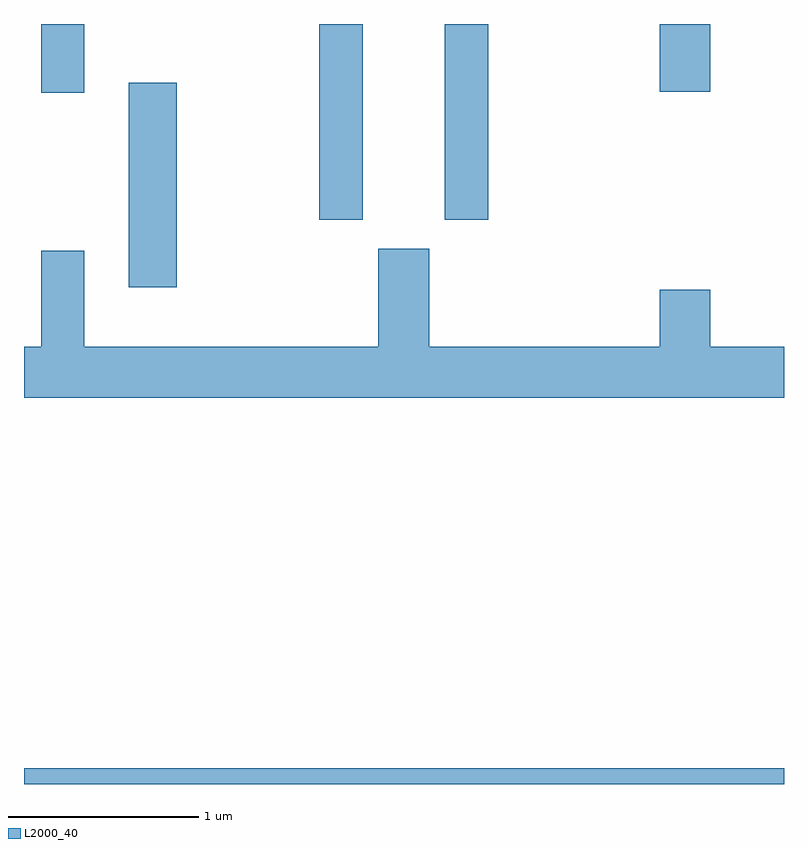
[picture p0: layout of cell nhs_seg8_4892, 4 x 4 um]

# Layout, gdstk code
import gdstk
lib = gdstk.Library(unit=1e-6, precision=1e-09)
def R(c, l, rs):  # rectangles x0, y0, x1, y1
    for r in rs: c.add(gdstk.rectangle(r[:2], r[2:], *l))
def P(c, l, *ps):  # polygons
    for p in ps: c.add(gdstk.Polygon(p, *l))
L2000_40 = (2000, 40)

nhs_seg8_4892 = lib.new_cell('nhs_seg8_4892')
R(nhs_seg8_4892, L2000_40, [(331.611,1874.342,335.611,1874.424), (332.161,1876.956,332.414,1878.034), (333.166,1877.311,333.394,1878.342), (333.826,1877.311,334.054,1878.342), (331.701,1877.981,331.929,1878.342), (334.956,1877.986,335.224,1878.342)])
P(nhs_seg8_4892, L2000_40, [(335.611,1876.644),(335.224,1876.644),(335.224,1876.944),(334.956,1876.944),(334.956,1876.644),(333.744,1876.644),(333.744,1877.159),(333.476,1877.159),(333.476,1876.644),(331.929,1876.644),(331.929,1877.149),(331.701,1877.149),(331.701,1876.644),(331.611,1876.644),(331.611,1876.376),(335.611,1876.376)])

lib.write_gds('nhs_seg8_4892.gds')
